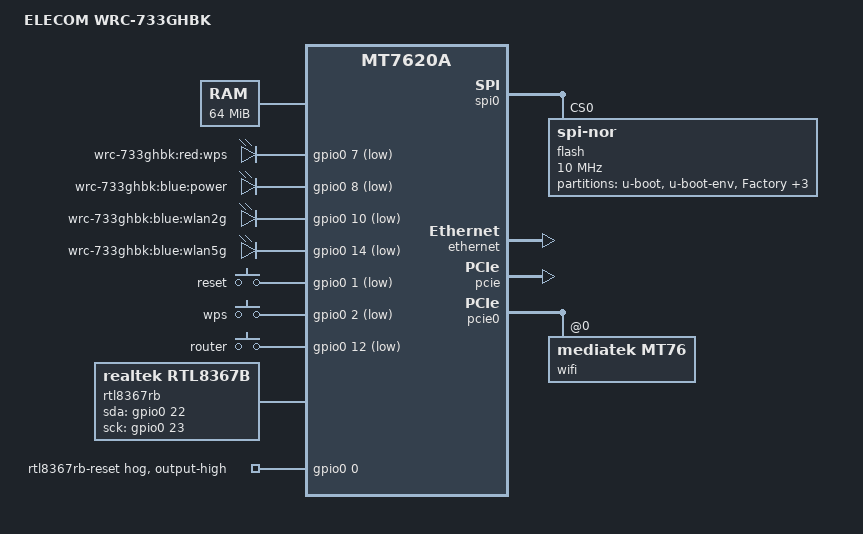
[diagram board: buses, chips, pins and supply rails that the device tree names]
/dts-v1/;

#include "mt7620a.dtsi"

#include <dt-bindings/gpio/gpio.h>
#include <dt-bindings/input/input.h>

/ {
	compatible = "elecom,wrc-733ghbk", "ralink,mt7620a-soc";
	model = "ELECOM WRC-733GHBK";

	aliases {
		led-boot = &led_power;
		led-failsafe = &led_power;
		led-running = &led_power;
		led-upgrade = &led_power;
	};

	memory@0 {
		device_type = "memory";
		reg = <0x0 0x4000000>;
	};

	leds {
		compatible = "gpio-leds";

		wps {
			label = "wrc-733ghbk:red:wps";
			gpios = <&gpio0 7 GPIO_ACTIVE_LOW>;
		};

		led_power: power {
			label = "wrc-733ghbk:blue:power";
			gpios = <&gpio0 8 GPIO_ACTIVE_LOW>;
			default-state = "on";
		};

		wlan2g {
			label = "wrc-733ghbk:blue:wlan2g";
			gpios = <&gpio0 10 GPIO_ACTIVE_LOW>;
		};

		wlan5g {
			label = "wrc-733ghbk:blue:wlan5g";
			gpios = <&gpio0 14 GPIO_ACTIVE_LOW>;
		};
	};

	keys {
		compatible = "gpio-keys-polled";
		poll-interval = <20>;

		reset {
			label = "reset";
			gpios = <&gpio0 1 GPIO_ACTIVE_LOW>;
			linux,code = <KEY_RESTART>;
		};

		wps {
			label = "wps";
			gpios = <&gpio0 2 GPIO_ACTIVE_LOW>;
			linux,code = <KEY_WPS_BUTTON>;
		};

		router {
			label = "router";
			gpios = <&gpio0 12 GPIO_ACTIVE_LOW>;
			linux,code = <BTN_0>;
			linux,input-type = <EV_SW>;
		};
	};

	rtl8367rb {
		compatible = "realtek,rtl8367b";
		gpio-sda = <&gpio0 22 GPIO_ACTIVE_HIGH>;
		gpio-sck = <&gpio0 23 GPIO_ACTIVE_HIGH>;
		realtek,extif1 = <1 0 1 1 1 1 1 1 2>;
	};
};

&spi0 {
	status = "okay";

	flash@0 {
		compatible = "jedec,spi-nor";
		reg = <0>;
		spi-max-frequency = <10000000>;

		partitions {
			compatible = "fixed-partitions";
			#address-cells = <1>;
			#size-cells = <1>;

			partition@0 {
				label = "u-boot";
				reg = <0x0 0x30000>;
				read-only;
			};

			partition@30000 {
				label = "u-boot-env";
				reg = <0x30000 0x10000>;
				read-only;
			};

			Factory: partition@40000 {
				label = "Factory";
				reg = <0x40000 0x10000>;
				read-only;
			};

			partition@50000 {
				label = "nvram";
				reg = <0x50000 0x20000>;
				read-only;
			};

			partition@70000 {
				compatible = "edimax,uimage";
				label = "firmware";
				reg = <0x70000 0x780000>;
			};

			partition@7f0000 {
				label = "hwconfig";
				reg = <0x7f0000 0x10000>;
				read-only;
			};
		};
	};
};

&ethernet {
	status = "okay";
	pinctrl-names = "default";
	pinctrl-0 = <&rgmii1_pins>;

	port@5 {
		status = "okay";
		mediatek,fixed-link = <1000 1 1 1>;
		phy-mode = "rgmii";
	};
};

&gpio0 {
	rtl8367rb_reset {
		gpio-hog;
		gpios = <0 GPIO_ACTIVE_HIGH>;
		output-high;
		line-name = "rtl8367rb-reset";
	};
};

&pinctrl {
	state_default: pinctrl0 {
		gpio {
			ralink,group = "i2c", "uartf", "mdio";
			ralink,function = "gpio";
		};
	};
};

&pcie {
	status = "okay";
};

&pcie0 {
	wifi@0,0 {
		compatible = "mediatek,mt76";
		reg = <0x0000 0 0 0 0>;
		mediatek,mtd-eeprom = <&Factory 0x8000>;
		ieee80211-freq-limit = <5000000 6000000>;
	};
};
